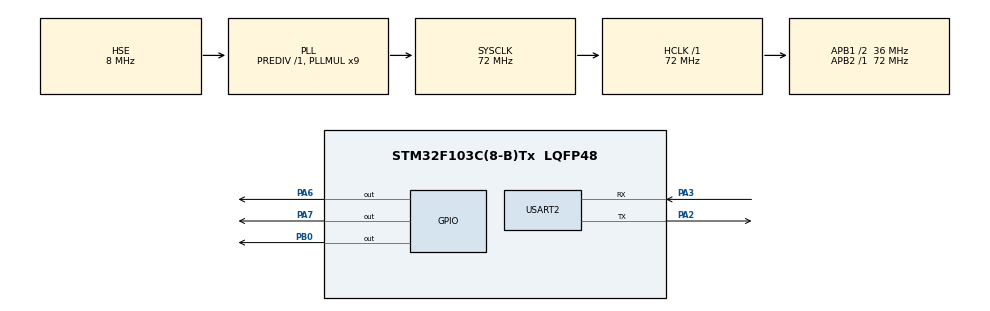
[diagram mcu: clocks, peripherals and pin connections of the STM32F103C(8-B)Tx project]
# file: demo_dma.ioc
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Dma.Request0=USART2_TX
Dma.Request1=USART2_RX
Dma.USART2_RX.1.Direction=DMA_PERIPH_TO_MEMORY
Dma.USART2_RX.1.Instance=DMA1_Channel6
Dma.USART2_RX.1.MemDataAlignment=DMA_MDATAALIGN_BYTE
Dma.USART2_RX.1.MemInc=DMA_MINC_ENABLE
Dma.USART2_RX.1.Mode=DMA_NORMAL
Dma.USART2_RX.1.PeriphDataAlignment=DMA_PDATAALIGN_BYTE
Dma.USART2_RX.1.PeriphInc=DMA_PINC_DISABLE
Dma.USART2_RX.1.Priority=DMA_PRIORITY_LOW
Dma.USART2_TX.0.Direction=DMA_MEMORY_TO_PERIPH
Dma.USART2_TX.0.Instance=DMA1_Channel7
Dma.USART2_TX.0.MemDataAlignment=DMA_MDATAALIGN_BYTE
Dma.USART2_TX.0.MemInc=DMA_MINC_ENABLE
Dma.USART2_TX.0.Mode=DMA_NORMAL
Dma.USART2_TX.0.PeriphDataAlignment=DMA_PDATAALIGN_BYTE
Dma.USART2_TX.0.PeriphInc=DMA_PINC_DISABLE
Dma.USART2_TX.0.Priority=DMA_PRIORITY_LOW
Mcu.Family=STM32F1
Mcu.Name=STM32F103C(8-B)Tx
Mcu.Package=LQFP48
NVIC.DMA1_Channel6_IRQn=true\:0\:0\:false\:false\:true\:false\:true\:true
NVIC.DMA1_Channel7_IRQn=true\:0\:0\:false\:false\:true\:false\:true\:true
NVIC.PriorityGroup=NVIC_PRIORITYGROUP_4
NVIC.USART2_IRQn=true\:0\:0\:false\:false\:true\:true\:true\:true
PA13.Mode=Serial_Wire
PA13.Signal=SYS_JTMS-SWDIO
PA14.Mode=Serial_Wire
PA14.Signal=SYS_JTCK-SWCLK
PA2.Mode=Asynchronous
PA2.Signal=USART2_TX
PA3.Mode=Asynchronous
PA3.Signal=USART2_RX
PA6.Signal=GPIO_Output
PA7.Signal=GPIO_Output
PB0.Signal=GPIO_Output
PD0-OSC_IN.Mode=HSE-External-Oscillator
PD0-OSC_IN.Signal=RCC_OSC_IN
PD1-OSC_OUT.Mode=HSE-External-Oscillator
PD1-OSC_OUT.Signal=RCC_OSC_OUT
ProjectManager.HeapSize=0x200
ProjectManager.StackSize=0x400
ProjectManager.TargetToolchain=MDK-ARM V5.32
RCC.AHBFreq_Value=72000000
RCC.APB1CLKDivider=RCC_HCLK_DIV2
RCC.APB1Freq_Value=36000000
RCC.APB1TimFreq_Value=72000000
RCC.APB2Freq_Value=72000000
RCC.APB2TimFreq_Value=72000000
RCC.HCLKFreq_Value=72000000
RCC.PLLMUL=RCC_PLL_MUL9
RCC.PLLSourceVirtual=RCC_PLLSOURCE_HSE
RCC.SYSCLKFreq_VALUE=72000000
RCC.SYSCLKSource=RCC_SYSCLKSOURCE_PLLCLK
RCC.USBFreq_Value=72000000
USART2.VirtualMode=VM_ASYNC
board=custom

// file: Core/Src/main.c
/* USER CODE BEGIN Header */
/**
  ******************************************************************************
  * @file           : main.c
  * @brief          : Main program body
  ******************************************************************************
  * @attention
  *
  * Copyright (c) 2025 STMicroelectronics.
  * All rights reserved.
  *
  * This software is licensed under terms that can be found in the LICENSE file
  * in the root directory of this software component.
  * If no LICENSE file comes with this software, it is provided AS-IS.
  *
  ******************************************************************************
  */
/* USER CODE END Header */
#include "main.h"
#include "dma.h"
#include "usart.h"
#include "gpio.h"

void SystemClock_Config(void);
/* USER CODE BEGIN PFP */
//uint8_t receiveData[2];
uint8_t receiveData[50];
/* USER CODE END PFP */

/* USER CODE BEGIN 0 */
//void HAL_UART_RxCpltCallback(UART_HandleTypeDef *huart)
//{
	//HAL_UART_Transmit_DMA(&huart2,receiveData,2);

	//HAL_UART_Receive_DMA(&huart2,receiveData,2);
//}

void HAL_UARTEx_RxEventCallback(UART_HandleTypeDef *huart, uint16_t Size)
{
	if(huart==&huart2)
	{
		HAL_UART_Transmit_DMA(&huart2,receiveData,Size);
		GPIO_PinState state=GPIO_PIN_SET;

	  if(receiveData[1]=='0')
	  {
		  state=GPIO_PIN_RESET;
	  }
	  else if(receiveData[1]=='1')
	  {
		  state=GPIO_PIN_RESET;
	  }
	  if(receiveData[0]=='R')
	  {
		  HAL_GPIO_WritePin(GPIOA,GPIO_PIN_6,state);
	  }
	  else if(receiveData[0]=='B')
	  {
		  HAL_GPIO_WritePin(GPIOA,GPIO_PIN_7,state);
	  }
	  else if(receiveData[0]=='G')
	  {
		  HAL_GPIO_WritePin(GPIOB,GPIO_PIN_0,state);
	  }

		HAL_UARTEx_ReceiveToIdle_DMA(&huart2,receiveData,sizeof(receiveData));
		__HAL_DMA_DISABLE_IT(&hdma_usart2_rx,DMA_IT_HT);
	}
}
/* USER CODE END 0 */

int main(void)
{

  /* MCU Configuration--------------------------------------------------------*/

  /* Reset of all peripherals, Initializes the Flash interface and the Systick. */
  HAL_Init();

  /* Configure the system clock */
  SystemClock_Config();

  /* Initialize all configured peripherals */
  MX_GPIO_Init();
  MX_DMA_Init();
  MX_USART2_UART_Init();
  /* USER CODE BEGIN 2 */
 //HAL_UART_Receive_DMA(&huart2,receiveData,2);
 HAL_UARTEx_ReceiveToIdle_DMA(&huart2,receiveData,sizeof(receiveData));
 __HAL_DMA_DISABLE_IT(&hdma_usart2_rx,DMA_IT_HT);
  /* USER CODE END 2 */

  /* Infinite loop */
  while (1)
  {

  }
}

void SystemClock_Config(void)
{
  RCC_OscInitTypeDef RCC_OscInitStruct = {0};
  RCC_ClkInitTypeDef RCC_ClkInitStruct = {0};

  /** Initializes the RCC Oscillators according to the specified parameters
  * in the RCC_OscInitTypeDef structure.
  */
  RCC_OscInitStruct.OscillatorType = RCC_OSCILLATORTYPE_HSE;
  RCC_OscInitStruct.HSEState = RCC_HSE_ON;
  RCC_OscInitStruct.HSEPredivValue = RCC_HSE_PREDIV_DIV1;
  RCC_OscInitStruct.HSIState = RCC_HSI_ON;
  RCC_OscInitStruct.PLL.PLLState = RCC_PLL_ON;
  RCC_OscInitStruct.PLL.PLLSource = RCC_PLLSOURCE_HSE;
  RCC_OscInitStruct.PLL.PLLMUL = RCC_PLL_MUL9;
  if (HAL_RCC_OscConfig(&RCC_OscInitStruct) != HAL_OK)
  {
    Error_Handler();
  }

  /** Initializes the CPU, AHB and APB buses clocks
  */
  RCC_ClkInitStruct.ClockType = RCC_CLOCKTYPE_HCLK|RCC_CLOCKTYPE_SYSCLK
                              |RCC_CLOCKTYPE_PCLK1|RCC_CLOCKTYPE_PCLK2;
  RCC_ClkInitStruct.SYSCLKSource = RCC_SYSCLKSOURCE_PLLCLK;
  RCC_ClkInitStruct.AHBCLKDivider = RCC_SYSCLK_DIV1;
  RCC_ClkInitStruct.APB1CLKDivider = RCC_HCLK_DIV2;
  RCC_ClkInitStruct.APB2CLKDivider = RCC_HCLK_DIV1;

  if (HAL_RCC_ClockConfig(&RCC_ClkInitStruct, FLASH_LATENCY_2) != HAL_OK)
  {
    Error_Handler();
  }
}

void Error_Handler(void)
{
  __disable_irq();
  while (1)
  {
  }
}
